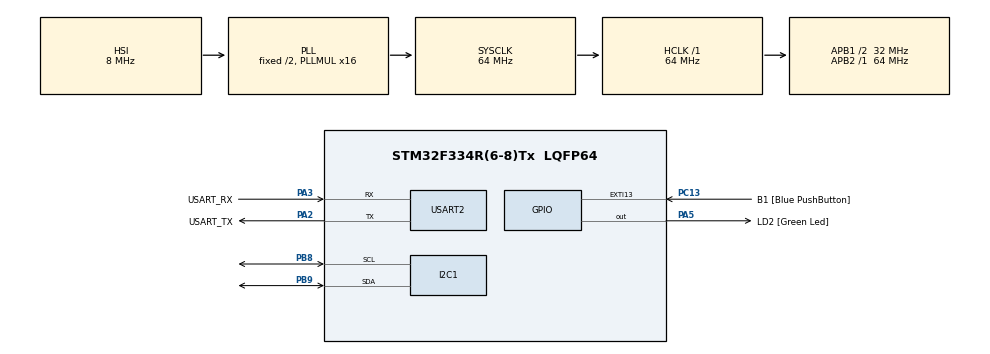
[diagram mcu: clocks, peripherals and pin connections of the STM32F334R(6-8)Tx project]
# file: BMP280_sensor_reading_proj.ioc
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I2C1.Timing=0x00201D2B
Mcu.Family=STM32F3
Mcu.Name=STM32F334R(6-8)Tx
Mcu.Package=LQFP64
NVIC.PriorityGroup=NVIC_PRIORITYGROUP_0
NVIC.TIM3_IRQn=true\:0\:0\:false\:false\:true\:true\:true\:true
PA13.GPIO_Label=TMS
PA13.Mode=Serial_Wire
PA13.Signal=SYS_JTMS-SWDIO
PA14.GPIO_Label=TCK
PA14.Mode=Serial_Wire
PA14.Signal=SYS_JTCK-SWCLK
PA2.GPIO_Label=USART_TX
PA2.Mode=Asynchronous
PA2.Signal=USART2_TX
PA3.GPIO_Label=USART_RX
PA3.Mode=Asynchronous
PA3.Signal=USART2_RX
PA5.GPIO_Label=LD2 [Green Led]
PA5.Signal=GPIO_Output
PB3.GPIO_Label=SWO
PB3.Signal=SYS_JTDO-TRACESWO
PB8.Mode=I2C
PB8.Signal=I2C1_SCL
PB9.Mode=I2C
PB9.Signal=I2C1_SDA
PC13.GPIO_Label=B1 [Blue PushButton]
PC13.GPIO_ModeDefaultEXTI=GPIO_MODE_IT_FALLING
PC13.Signal=GPXTI13
PC14\ /\ OSC32_IN.Mode=LSE-External-Oscillator
PC14\ /\ OSC32_IN.Signal=RCC_OSC32_IN
PC15\ /\ OSC32_OUT.GPIO_Label=RCC_OSC32_OUT
PC15\ /\ OSC32_OUT.Mode=LSE-External-Oscillator
PC15\ /\ OSC32_OUT.Signal=RCC_OSC32_OUT
PF0\ /\ OSC_IN.Mode=HSE-External-Clock-Source
PF0\ /\ OSC_IN.Signal=RCC_OSC_IN
PF1\ /\ OSC_OUT.Signal=RCC_OSC_OUT
ProjectManager.HeapSize=0x200
ProjectManager.StackSize=0x400
ProjectManager.TargetToolchain=STM32CubeIDE
RCC.AHBFreq_Value=64000000
RCC.APB1CLKDivider=RCC_HCLK_DIV2
RCC.APB1Freq_Value=32000000
RCC.APB1TimFreq_Value=64000000
RCC.APB2Freq_Value=64000000
RCC.APB2TimFreq_Value=64000000
RCC.CortexFreq_Value=64000000
RCC.FLatency-AdvancedSettings=FLASH_LATENCY_2
RCC.HCLKFreq_Value=64000000
RCC.HSE_VALUE=8000000
RCC.HSI_VALUE=8000000
RCC.PLLMUL=RCC_PLL_MUL16
RCC.SYSCLKFreq_VALUE=64000000
RCC.SYSCLKSourceVirtual=RCC_SYSCLKSOURCE_PLLCLK
TIM3.Prescaler=7199
USART2.VirtualMode-Asynchronous=VM_ASYNC
VP_TIM3_VS_ClockSourceINT.Mode=Internal
board=NUCLEO-F334R8

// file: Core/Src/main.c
/* USER CODE BEGIN Header */
/**
  ******************************************************************************
  * @file           : main.c
  * @brief          : Main program body
  ******************************************************************************
  * @attention
  *
  * Copyright (c) 2025 STMicroelectronics.
  * All rights reserved.
  *
  * This software is licensed under terms that can be found in the LICENSE file
  * in the root directory of this software component.
  * If no LICENSE file comes with this software, it is provided AS-IS.
  *
  ******************************************************************************
  */
/* USER CODE END Header */
#include "main.h"

/* USER CODE BEGIN Includes */
#include <stdio.h>
#include "BMP280.h"

/* USER CODE END Includes */

/* USER CODE BEGIN PTD */
typedef struct {
	float temp;
	float press;
	uint32_t time;
} SensorVals;

typedef struct {
	uint32_t time;
	uint8_t sec;
	uint8_t min;
	uint8_t hour;
	char timestamp[9];
} TimeStamp;
/* USER CODE END PTD */

I2C_HandleTypeDef hi2c1;

TIM_HandleTypeDef htim3;

UART_HandleTypeDef huart2;

void SystemClock_Config(void);
static void MX_GPIO_Init(void);
static void MX_USART2_UART_Init(void);
static void MX_I2C1_Init(void);
static void MX_TIM3_Init(void);
/* USER CODE BEGIN PFP */
//void bmp280_init(void);
//void bmp280_read_float(void);

/* USER CODE END PFP */

/* USER CODE BEGIN 0 */
volatile uint8_t sensor_ready = 0;
SensorVals sensor;
TimeStamp ts;

/*
 * Creating the Timestamp
 *
 * Description:
 * Creates the timestamp for the UART Serial Logging
 *
 * Parameters:
 * time, TimeStamp
 */

TimeStamp Timestamp_Creator(void)
{
	TimeStamp ts;

	 // Get current time in milliseconds
	ts.time = HAL_GetTick();

	// Convert milliseconds to total seconds
	uint32_t total_seconds = ts.time / 1000;

	// Extract hours, minutes, seconds
	ts.hour = total_seconds / 3600;
	ts.min  = (total_seconds % 3600) / 60;
	ts.sec  = total_seconds % 60;

	return ts;
}

/*
 * Sensor Read Values
 *
 * Description:
 * Reads & prints the values read from the BMP280 sensor based on clock interval
 *
 * Parameters:
 * temp, press, Sensor
 */
SensorVals SensorReadValue(TimeStamp *ts)
{
	SensorVals val;
	*ts = Timestamp_Creator(); // update timestamp

	if (bmp280_read_float(&val.temp, &val.press))
	{
		return val;
	}
	else
	{
		val.temp = 0;
		val.press = 0;
		printf("BMP280 read failed!\r\n");
	}

	return val;
}

/*
 * Timer Callback Function
 *
 * Description:
 * Calls specific functions every 5 seconds to reduce over-use of read.
 *
 * Parameters:
 * htim, TIM3, Instance, SensorVals
 */
void HAL_TIM_PeriodElapsedCallback(TIM_HandleTypeDef *htim)
{
    if (htim->Instance == TIM3) // check it’s TIM3
    {
    	// Declare a static SensorVals struct to retain sensor values between calls
    	sensor = SensorReadValue(&ts);
		sensor_ready = 1; // just flag, no UART here
    }
}

/* USER CODE END 0 */

int main(void)
{

  /* MCU Configuration--------------------------------------------------------*/

  /* Reset of all peripherals, Initializes the Flash interface and the Systick. */
  HAL_Init();

  /* Configure the system clock */
  SystemClock_Config();

  /* Initialize all configured peripherals */
  MX_GPIO_Init();
  MX_USART2_UART_Init();
  MX_I2C1_Init();
  MX_TIM3_Init();

  /* USER CODE BEGIN 2 */
  HAL_GetTick();

  // Initialise Sensor Library
  bmp280_init();

  // Setting Clock Interval Interrupt
  HAL_NVIC_SetPriority(TIM3_IRQn, 0, 0);  // Highest priority (adjust if needed)
  HAL_NVIC_EnableIRQ(TIM3_IRQn);
  HAL_TIM_Base_Start_IT(&htim3);

  /* USER CODE END 2 */

  /* Infinite loop */
  while (1)
  {
	  if (sensor_ready)
	  {
		  sensor_ready = 0;
		  printf("%02u:%02u:%02u,%.2f,%.2f\r\n",
		  ts.hour, ts.min, ts.sec, sensor.temp, sensor.press);
	  }
  }
}

void SystemClock_Config(void)
{
  RCC_OscInitTypeDef RCC_OscInitStruct = {0};
  RCC_ClkInitTypeDef RCC_ClkInitStruct = {0};
  RCC_PeriphCLKInitTypeDef PeriphClkInit = {0};

  /** Initializes the RCC Oscillators according to the specified parameters
  * in the RCC_OscInitTypeDef structure.
  */
  RCC_OscInitStruct.OscillatorType = RCC_OSCILLATORTYPE_HSI;
  RCC_OscInitStruct.HSIState = RCC_HSI_ON;
  RCC_OscInitStruct.HSICalibrationValue = RCC_HSICALIBRATION_DEFAULT;
  RCC_OscInitStruct.PLL.PLLState = RCC_PLL_ON;
  RCC_OscInitStruct.PLL.PLLSource = RCC_PLLSOURCE_HSI;
  RCC_OscInitStruct.PLL.PLLMUL = RCC_PLL_MUL16;
  if (HAL_RCC_OscConfig(&RCC_OscInitStruct) != HAL_OK)
  {
    Error_Handler();
  }

  /** Initializes the CPU, AHB and APB buses clocks
  */
  RCC_ClkInitStruct.ClockType = RCC_CLOCKTYPE_HCLK|RCC_CLOCKTYPE_SYSCLK
                              |RCC_CLOCKTYPE_PCLK1|RCC_CLOCKTYPE_PCLK2;
  RCC_ClkInitStruct.SYSCLKSource = RCC_SYSCLKSOURCE_PLLCLK;
  RCC_ClkInitStruct.AHBCLKDivider = RCC_SYSCLK_DIV1;
  RCC_ClkInitStruct.APB1CLKDivider = RCC_HCLK_DIV2;
  RCC_ClkInitStruct.APB2CLKDivider = RCC_HCLK_DIV1;

  if (HAL_RCC_ClockConfig(&RCC_ClkInitStruct, FLASH_LATENCY_2) != HAL_OK)
  {
    Error_Handler();
  }
  PeriphClkInit.PeriphClockSelection = RCC_PERIPHCLK_I2C1;
  PeriphClkInit.I2c1ClockSelection = RCC_I2C1CLKSOURCE_HSI;
  if (HAL_RCCEx_PeriphCLKConfig(&PeriphClkInit) != HAL_OK)
  {
    Error_Handler();
  }
}

static void MX_I2C1_Init(void)
{

  hi2c1.Instance = I2C1;
  hi2c1.Init.Timing = 0x00201D2B;
  hi2c1.Init.OwnAddress1 = 0;
  hi2c1.Init.AddressingMode = I2C_ADDRESSINGMODE_7BIT;
  hi2c1.Init.DualAddressMode = I2C_DUALADDRESS_DISABLE;
  hi2c1.Init.OwnAddress2 = 0;
  hi2c1.Init.OwnAddress2Masks = I2C_OA2_NOMASK;
  hi2c1.Init.GeneralCallMode = I2C_GENERALCALL_DISABLE;
  hi2c1.Init.NoStretchMode = I2C_NOSTRETCH_DISABLE;
  if (HAL_I2C_Init(&hi2c1) != HAL_OK)
  {
    Error_Handler();
  }

  /** Configure Analogue filter
  */
  if (HAL_I2CEx_ConfigAnalogFilter(&hi2c1, I2C_ANALOGFILTER_ENABLE) != HAL_OK)
  {
    Error_Handler();
  }

  /** Configure Digital filter
  */
  if (HAL_I2CEx_ConfigDigitalFilter(&hi2c1, 0) != HAL_OK)
  {
    Error_Handler();
  }

}

static void MX_TIM3_Init(void)
{

  TIM_ClockConfigTypeDef sClockSourceConfig = {0};
  TIM_MasterConfigTypeDef sMasterConfig = {0};

  htim3.Instance = TIM3;
  htim3.Init.Prescaler = 7199;
  htim3.Init.CounterMode = TIM_COUNTERMODE_UP;
  htim3.Init.Period = 65535;
  htim3.Init.ClockDivision = TIM_CLOCKDIVISION_DIV1;
  htim3.Init.AutoReloadPreload = TIM_AUTORELOAD_PRELOAD_DISABLE;
  if (HAL_TIM_Base_Init(&htim3) != HAL_OK)
  {
    Error_Handler();
  }
  sClockSourceConfig.ClockSource = TIM_CLOCKSOURCE_INTERNAL;
  if (HAL_TIM_ConfigClockSource(&htim3, &sClockSourceConfig) != HAL_OK)
  {
    Error_Handler();
  }
  sMasterConfig.MasterOutputTrigger = TIM_TRGO_RESET;
  sMasterConfig.MasterSlaveMode = TIM_MASTERSLAVEMODE_DISABLE;
  if (HAL_TIMEx_MasterConfigSynchronization(&htim3, &sMasterConfig) != HAL_OK)
  {
    Error_Handler();
  }

}

static void MX_USART2_UART_Init(void)
{

  huart2.Instance = USART2;
  huart2.Init.BaudRate = 38400;
  huart2.Init.WordLength = UART_WORDLENGTH_8B;
  huart2.Init.StopBits = UART_STOPBITS_1;
  huart2.Init.Parity = UART_PARITY_NONE;
  huart2.Init.Mode = UART_MODE_TX_RX;
  huart2.Init.HwFlowCtl = UART_HWCONTROL_NONE;
  huart2.Init.OverSampling = UART_OVERSAMPLING_16;
  huart2.Init.OneBitSampling = UART_ONE_BIT_SAMPLE_DISABLE;
  huart2.AdvancedInit.AdvFeatureInit = UART_ADVFEATURE_NO_INIT;
  if (HAL_UART_Init(&huart2) != HAL_OK)
  {
    Error_Handler();
  }

}

static void MX_GPIO_Init(void)
{
  GPIO_InitTypeDef GPIO_InitStruct = {0};

  /* GPIO Ports Clock Enable */
  __HAL_RCC_GPIOC_CLK_ENABLE();
  __HAL_RCC_GPIOF_CLK_ENABLE();
  __HAL_RCC_GPIOA_CLK_ENABLE();
  __HAL_RCC_GPIOB_CLK_ENABLE();

  /*Configure GPIO pin Output Level */
  HAL_GPIO_WritePin(LD2_GPIO_Port, LD2_Pin, GPIO_PIN_RESET);

  /*Configure GPIO pin : B1_Pin */
  GPIO_InitStruct.Pin = B1_Pin;
  GPIO_InitStruct.Mode = GPIO_MODE_IT_FALLING;
  GPIO_InitStruct.Pull = GPIO_NOPULL;
  HAL_GPIO_Init(B1_GPIO_Port, &GPIO_InitStruct);

  /*Configure GPIO pin : LD2_Pin */
  GPIO_InitStruct.Pin = LD2_Pin;
  GPIO_InitStruct.Mode = GPIO_MODE_OUTPUT_PP;
  GPIO_InitStruct.Pull = GPIO_NOPULL;
  GPIO_InitStruct.Speed = GPIO_SPEED_FREQ_LOW;
  HAL_GPIO_Init(LD2_GPIO_Port, &GPIO_InitStruct);

}

/* USER CODE BEGIN 4 */
int _write(int file, char *ptr, int len)
{
    HAL_UART_Transmit(&huart2, (uint8_t*)ptr, len, HAL_MAX_DELAY);
    return len;
}

/* USER CODE END 4 */

void Error_Handler(void)
{
  __disable_irq();
  while (1)
  {
  }
}
